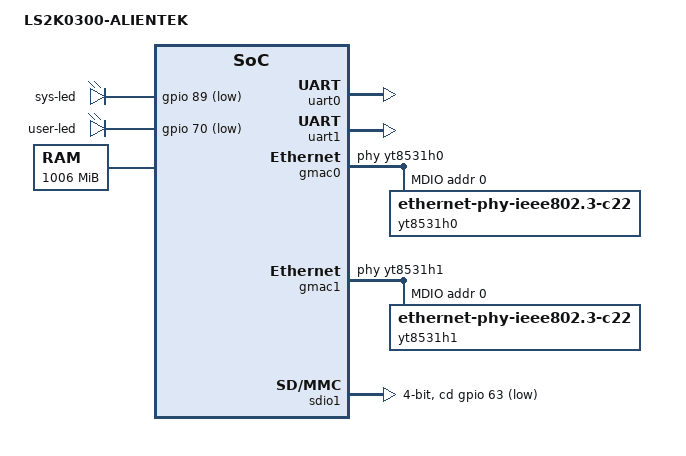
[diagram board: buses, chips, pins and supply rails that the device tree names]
// SPDX-License-Identifier: GPL-2.0
/*
 * Copyright (C) 2025 Yao Zi <ziyao@disroot.org>
 */

/dts-v1/;

#include "loongson-2k0300.dtsi"

/ {
	compatible = "loongson,ls2k0300";
	model = "LS2K0300-ALIENTEK";
	product = "ATK-DL2K0300B-V01";

	aliases {
		serial0 = &uart0;
	};

	chosen {
		stdout-path = "serial0:115200n8";
	};

	leds {
		compatible = "gpio-leds";

		led0 {
			label = "sys-led";
			gpios = <&gpio 89 GPIO_ACTIVE_LOW>;
			linux,default-trigger = "heartbeat";
			default-state = "on";
		};
		led1 {
			label = "user-led";
			gpios = <&gpio 70 GPIO_ACTIVE_LOW>;
			linux,default-trigger = "none";
			default-state = "on";
		};
	};

	memory@200000 {
		device_type = "memory";
		reg = <0 0x00200000 0 0x0ee00000>,
		      <0 0x90000000 0 0x30000000>;
	};

	reserved-memory {
		#address-cells = <2>;
		#size-cells = <2>;
		ranges;

		linux,cma {
			compatible = "shared-dma-pool";
			reusable;
			size = <0 0x02000000>;
			linux,cma-default;
		};
	};
};

&pinctrl {
};

&uart0 {
	status = "okay";
};

&uart1 {
	status = "okay";
};

&gmac0 {
	status = "okay";
	phy-handle = <&yt8531h0>;
	mdio {
		#address-cells = <1>;
		#size-cells = <0>;
		compatible = "snps,dwmac-mdio";

		yt8531h0: ethernet-phy@0 {
			compatible = "ethernet-phy-ieee802.3-c22";
			reg = <0>;
			motorcomm,led0_cfg = <0x40>; //千兆常亮
			motorcomm,led1_cfg = <0x30>; //百兆 十兆常亮
			motorcomm,led2_cfg = <0x2600>; //有数据时闪烁
		};
	};
};

&gmac1 {
	status = "okay";
	phy-handle = <&yt8531h1>;
	mdio {
		#address-cells = <1>;
		#size-cells = <0>;
		compatible = "snps,dwmac-mdio";

		yt8531h1: ethernet-phy@1 {
			compatible = "ethernet-phy-ieee802.3-c22";
			reg = <0>;
			motorcomm,led0_cfg = <0x40>; //千兆常亮
			motorcomm,led1_cfg = <0x30>; //百兆 十兆常亮
			motorcomm,led2_cfg = <0x2600>; //有数据时闪烁
		};
	};
};

&sdio1 {
	pinctrl-0 = <&sdio1_pins>;
	pinctrl-names = "default";
	cap-sd-highspeed;
	cap-mmc-highspeed;
	bus-width = <4>;
	cd-gpios = <&gpio 63 GPIO_ACTIVE_LOW>;
	status = "okay";
};
